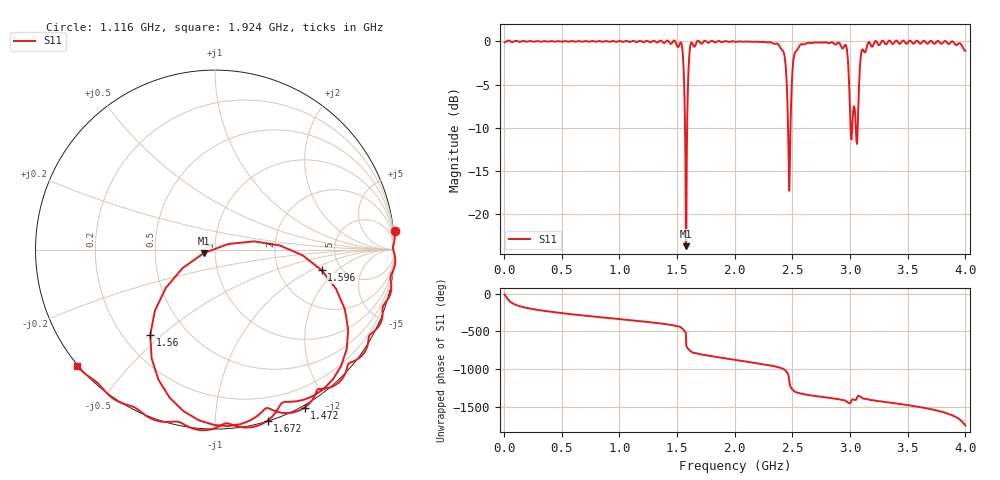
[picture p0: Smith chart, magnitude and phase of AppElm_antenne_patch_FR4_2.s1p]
! TOUCHSTONE file generated by CST MICROWAVE STUDIO
! Date and time: Tue Jun 14 13:48:50 2022
! Project name: AppElm_antenne_patch_FR4.cst
! Parameters = {L=45; W=58.5; e=0.035; h=1.6; lambda=0.190476; ls=120; w0=2.54; w1=0.847; ws=120; y0=18; y1=19.04}
! Header version: 2018
! Port assignment regex: !\s*Touchstone port\s*([0-9]+)\s*=\s*(CST MWS port|CST DS port)\s*([0-9]+|Zmin|Zmax)\s*\(\"(.*)\"\)(\s*mode\s*([0-9]+))?.*
! Touchstone port assignment:
! Touchstone port 1 = CST MWS port 1 ("")
# GHz S MA R 50
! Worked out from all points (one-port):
!   1000 points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, 4 MHz to 4 GHz, reference 50 ohm
!   lowest |S11| = -23.7 dB at 1.576 GHz (marker M1), VSWR 1.14, Z = 44.1 - j1.75 ohm
!   |S11| at or under -10 dB: 1.569 GHz to 1.587 GHz (18.17 MHz wide, 1.15 % of centre); 2.462 GHz to 2.483 GHz (21.11 MHz wide, 0.854 % of centre); 3.05 GHz to 3.066 GHz (15.96 MHz wide, 0.522 % of centre)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
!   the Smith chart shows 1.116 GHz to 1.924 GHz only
!   S11 on the Smith chart (normalised r, x): 1.116 GHz: -1, +19; 1.472 GHz: -0.02, -1.72; 1.56 GHz: 0.31, -0.46; 1.596 GHz: 3.57, -1.30; 1.672 GHz: 0.00, -1.35; 1.924 GHz: -0.00, -0.37
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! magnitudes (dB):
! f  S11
! 4 MHz  -0.1
! 504 MHz  0.0
! 1.004 GHz  0.0
! 1.116 GHz  0.0
! 1.472 GHz  0.1
! 1.504 GHz  -0.6
! 1.54 GHz  -0.4
! 1.56 GHz  -4.5
! 1.576 GHz  -23.7
! 1.596 GHz  -4.3
! 1.616 GHz  -0.4
! 1.672 GHz  0.0
! 1.924 GHz  0.0
! 2.004 GHz  -0.1
! 2.404 GHz  -0.9
! 2.436 GHz  -2.1
! 2.472 GHz  -17.3
! 2.484 GHz  -9.3
! 2.504 GHz  -2.8
! 2.576 GHz  -0.3
! 2.952 GHz  -0.5
! 2.976 GHz  -1.4
! 3.004 GHz  -9.9
! 3.056 GHz  -11.6
! 3.1 GHz  -1.1
! 3.156 GHz  -0.2
! 3.504 GHz  -0.1
! 4 GHz  -1.1
